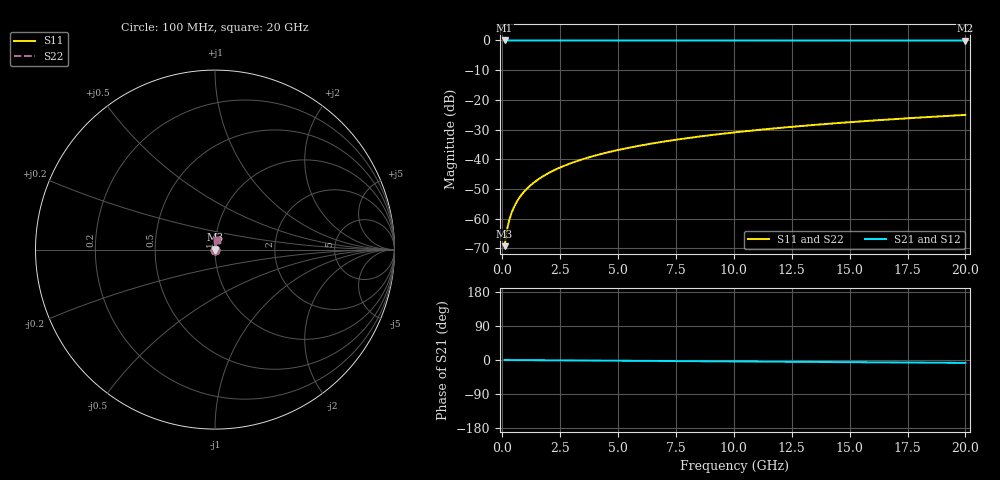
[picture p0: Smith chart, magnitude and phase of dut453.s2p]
! Touchstone file exported from HFSS 2026.1.0
!  File:  C:/ffzhzh/LocalFiles/Ansys_Project_Files/temp_train_TSV_453_1783021771_46388.aedt
!  Generated:  03:51:24 AM Jul  3, 2026
!  Design:  TSV
!  Project:  temp_train_TSV_453_1783021771_46388
! Variables:
!  h_bsmrdl = 2um
!  h_ox = 20um
!  h_rdl = 5um
!  h_sub = 60.98um
!  h_tmrdl = 5um
!  h_tsv = 60.98um
!  h_via = 3um
!  l_bsmrdl = 300um
!  l_sub = 416.02um
!  l_tmrdl = 200um
!  m_sub = 200um
!  pitch = 57.4um
!  r_tsv = 8.01um
!  s_tmrdl = 10um
!  w_bsmrdl = 18um
!  w_sub = 500um
!  w_tmrdl = 12um
!  x_tsv_center1 = 206um
!  x_tsv_center2 = 524um
!  x_tsv_center3 = 736um
!  x_tsv_center4 = 1054um
!  x_tsv_center5 = 1266um
!  x_tsv_center6 = 1584um
# GHz S MA R 50.000000
! Terminal data exported
! Port[1] = TSV1_1_T1
! Port[2] = TSV1_1_T2
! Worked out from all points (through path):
!   200 points, 100 MHz to 20 GHz, reference 50 ohm
!   highest |S21| = 0.00 dB at 100 MHz (marker M1); lowest = 0.0 dB at 20 GHz (marker M2)
!   group delay of S21, straight-line fit = 1.05 ps
!   lowest |S11| = -69.3 dB at 100 MHz (marker M3), VSWR 1.00, Z = 50 + j0.0314 ohm
!   |S11| at or under -10 dB: start of sweep to end of sweep
!   |S22| runs from -69.3 to -25.1 dB; largest |S21 - S12| = 2.1e-15
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0.1  0.0003447 65.5  0.9999 -0.0  0.9999 -0.0  0.0003447 65.5
! Gamma 0 0 0 0
! Port Impedance 50 0 50 0
0.2  0.0006437 76.4  0.9998 -0.1  0.9998 -0.1  0.0006437 76.4
0.3  0.0009489 80.0  0.9998 -0.1  0.9998 -0.1  0.0009489 80.0
0.4  0.001253 81.6  0.9998 -0.2  0.9998 -0.2  0.001253 81.6
0.5  0.001553 82.5  0.9998 -0.2  0.9998 -0.2  0.001553 82.5
0.6  0.00185 83.1  0.9998 -0.2  0.9998 -0.2  0.00185 83.1
0.7  0.002144 83.5  0.9998 -0.3  0.9998 -0.3  0.002144 83.5
0.8  0.002436 83.8  0.9997 -0.3  0.9997 -0.3  0.002436 83.8
1  0.003013 84.3  0.9997 -0.4  0.9997 -0.4  0.003013 84.3
1.4  0.004155 85.0  0.9997 -0.5  0.9997 -0.5  0.004155 85.0
1.7  0.005008 85.3  0.9996 -0.7  0.9996 -0.7  0.005008 85.3
2  0.005859 85.5  0.9996 -0.8  0.9996 -0.8  0.005859 85.5
2.7  0.007844 85.8  0.9995 -1.0  0.9995 -1.0  0.007844 85.8
3.5  0.01011 85.9  0.9995 -1.3  0.9995 -1.3  0.01011 85.9
4.2  0.01208 85.9  0.9994 -1.6  0.9994 -1.6  0.01208 85.9
5  0.01433 85.8  0.9993 -1.9  0.9993 -1.9  0.01433 85.8
6.8  0.01937 85.4  0.9991 -2.6  0.9991 -2.6  0.01937 85.4
8.3  0.02355 85.0  0.999 -3.2  0.999 -3.2  0.02355 85.0
10.1  0.02855 84.5  0.9988 -3.8  0.9988 -3.8  0.02855 84.5
13.4  0.03768 83.5  0.9983 -5.1  0.9983 -5.1  0.03768 83.5
16.7  0.04677 82.4  0.9979 -6.3  0.9979 -6.3  0.04677 82.4
20  0.05579 81.2  0.9973 -7.6  0.9973 -7.6  0.05579 81.2
